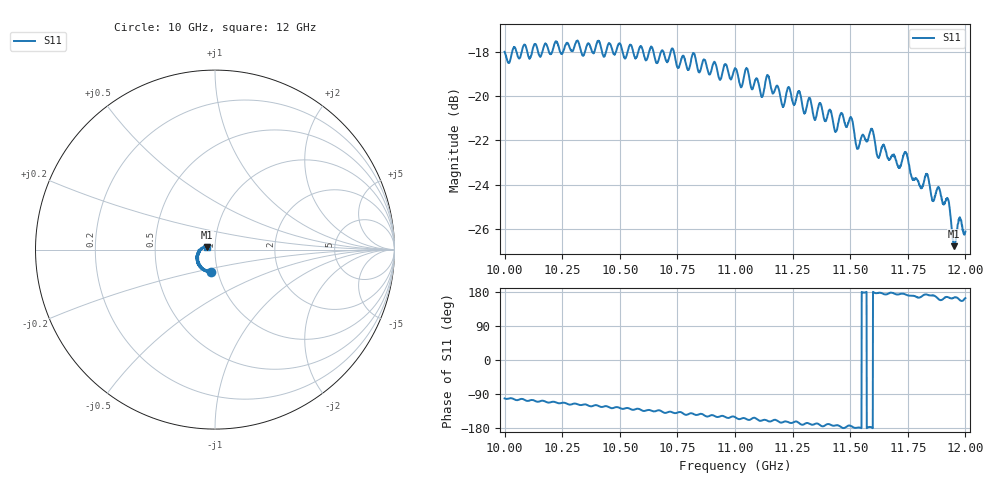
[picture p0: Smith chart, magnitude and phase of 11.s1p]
[Version] 2.0
! Rohde & Schwarz Vector Network Analyzer
! Rohde-Schwarz,ZNL20-2Port,1323001220200009,1.71.1.10-23.02.1.238
! Port Assignments:
! Nominal Port -> Actual Test Port
!  1 -> 1
! Created: GMT 2024-09-04 10:34:55
# Hz S DB R 50
[Number of Ports] 1
! freq[Hz]  S11[mag dB]  S11[ang]
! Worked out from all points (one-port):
!   2001 points, 10 GHz to 12 GHz, reference 50 ohm
!   lowest |S11| = -26.8 dB at 11.95 GHz (marker M1), VSWR 1.10, Z = 45.8 + j1.12 ohm
!   |S11| at or under -10 dB: start of sweep to end of sweep
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[Number of Frequencies] 28
[Network Data]
1e10  -18.01 -101.4
1.025e10  -18.08 -112.9
1.05e10  -17.63 -126.6
1.0661e10  -18.52 -133.7
1.0729e10  -17.87 -138.1
1.075e10  -18.71 -139.0
1.082e10  -18.08 -142.4
1.0844e10  -18.93 -143.4
1.1e10  -18.74 -150.6
1.1025e10  -19.60 -155.2
1.1051e10  -18.76 -156.3
1.1116e10  -20.03 -160.0
1.1142e10  -19.07 -160.7
1.125e10  -20.26 -165.4
1.1412e10  -20.62 -170.3
1.1436e10  -21.62 -172.6
1.15e10  -20.98 -173.1
1.1532e10  -22.39 -178.4
1.1593e10  -21.48 -178.1
1.1622e10  -22.78 177.0
1.175e10  -22.80 170.8
1.1772e10  -23.76 169.8
1.1832e10  -23.52 172.5
1.1858e10  -24.71 170.3
1.1922e10  -24.60 166.3
1.195e10  -26.78 164.5
1.1976e10  -25.47 158.3
1.2e10  -26.12 163.3
[End]
